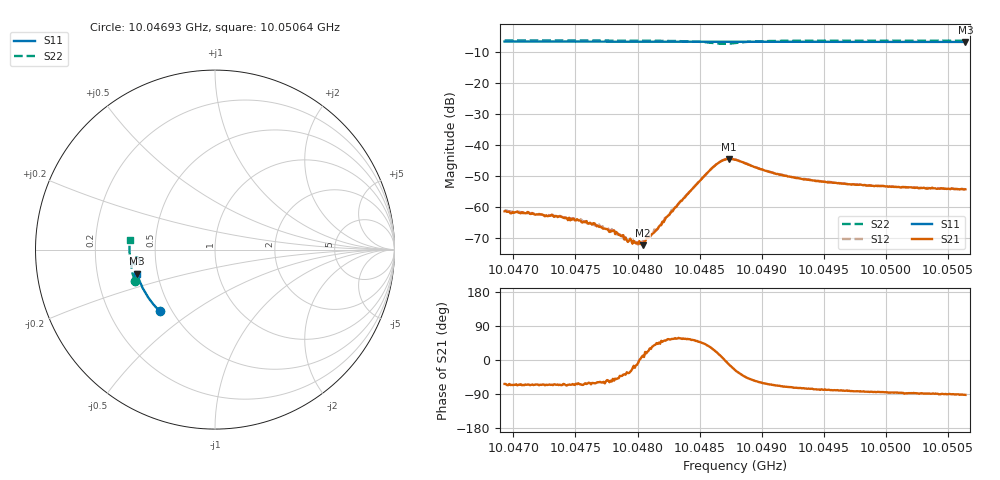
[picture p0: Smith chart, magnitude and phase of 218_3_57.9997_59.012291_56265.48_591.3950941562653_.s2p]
#  HZ  S  RI  R  50.00
! Rohde & Schwarz Vector Network Analyzer
! Rohde-Schwarz,ZNB20-2Port,1311601062101988,3.16
! Created: UTC 3/21/2024, 1:00:03 AM
! freq[Hz]  re:S11  im:S11  re:S21  im:S21  re:S12  im:S12  re:S22  im:S22
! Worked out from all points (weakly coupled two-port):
!   401 points, 10.04693 GHz to 10.05064 GHz, reference 50 ohm
!   highest |S21| = -44.64 dB at 10.04874 GHz (marker M1); lowest = -72.5 dB at 10.04804 GHz (marker M2)
!   lowest |S11| = -6.9 dB at 10.05064 GHz (marker M3), VSWR 2.66, Z = 19.2 - j6.49 ohm
!   |S11| at or under -10 dB: nowhere
!   |S22| runs from -7.5 to -6.4 dB; largest |S21 - S12| = 0.00039
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1.0046929e10  -0.3088 -0.3418  0.000378 -0.000749  0.000428 -0.000757  -0.4469 -0.1739
1.0047328e10  -0.3274 -0.3229  0.000299 -0.000614  0.000341 -0.000617  -0.4552 -0.1476
1.0047551e10  -0.3373 -0.3118  0.000232 -0.000506  0.000315 -0.000516  -0.4594 -0.1325
1.0047634e10  -0.3409 -0.3076  0.000252 -0.000446  0.000278 -0.000438  -0.4607 -0.1267
1.0047737e10  -0.3451 -0.3025  0.000208 -0.000388  0.000242 -0.000371  -0.4623 -0.1193
1.004782e10  -0.3486 -0.298  0.000236 -0.000271  0.000269 -0.00029  -0.4634 -0.113
1.0047913e10  -0.3526 -0.2933  0.000244 -0.000155  0.000235 -0.000167  -0.4643 -0.106
1.0047969e10  -0.3547 -0.2903  0.000269 -7.33e-05  0.000262 -0.000113  -0.4648 -0.1017
1.0048006e10  -0.3562 -0.2883  0.000249 -3.09e-05  0.000242 -2.32e-05  -0.4651 -0.0988
1.0048043e10  -0.3576 -0.2864  0.000233 4.79e-05  0.000281 3.18e-05  -0.4654 -0.0958
1.0048108e10  -0.3603 -0.2831  0.000299 0.000166  0.000292 0.000201  -0.4657 -0.0903
1.0048173e10  -0.3628 -0.2795  0.000331 0.000345  0.000311 0.000349  -0.4657 -0.0844
1.0048284e10  -0.3672 -0.2736  0.000475 0.000697  0.000479 0.000751  -0.4649 -0.0737
1.0048591e10  -0.3782 -0.2565  0.00335 0.00218  0.00323 0.00236  -0.4376 -0.0442
1.0048665e10  -0.3805 -0.2523  0.00515 0.00112  0.00511 0.00144  -0.422 -0.0521
1.0048739e10  -0.383 -0.2485  0.00572 -0.00127  0.00585 -0.000928  -0.4206 -0.0714
1.0048786e10  -0.3845 -0.2461  0.00509 -0.00255  0.00531 -0.00222  -0.4286 -0.0798
1.0049101e10  -0.3952 -0.2282  0.00136 -0.00315  0.00158 -0.00311  -0.4673 -0.06
1.0049407e10  -0.4045 -0.2103  0.000655 -0.00257  0.0008 -0.00256  -0.4743 -0.033
1.0049705e10  -0.4129 -0.1925  0.000362 -0.00226  0.000483 -0.00225  -0.4761 -0.0102
1.0050029e10  -0.4208 -0.1726  0.000151 -0.00211  0.000283 -0.00208  -0.4764 0.0131
1.0050642e10  -0.4335 -0.1345  -6.84e-05 -0.0019  4.11e-05 -0.00191  -0.4732 0.0549
